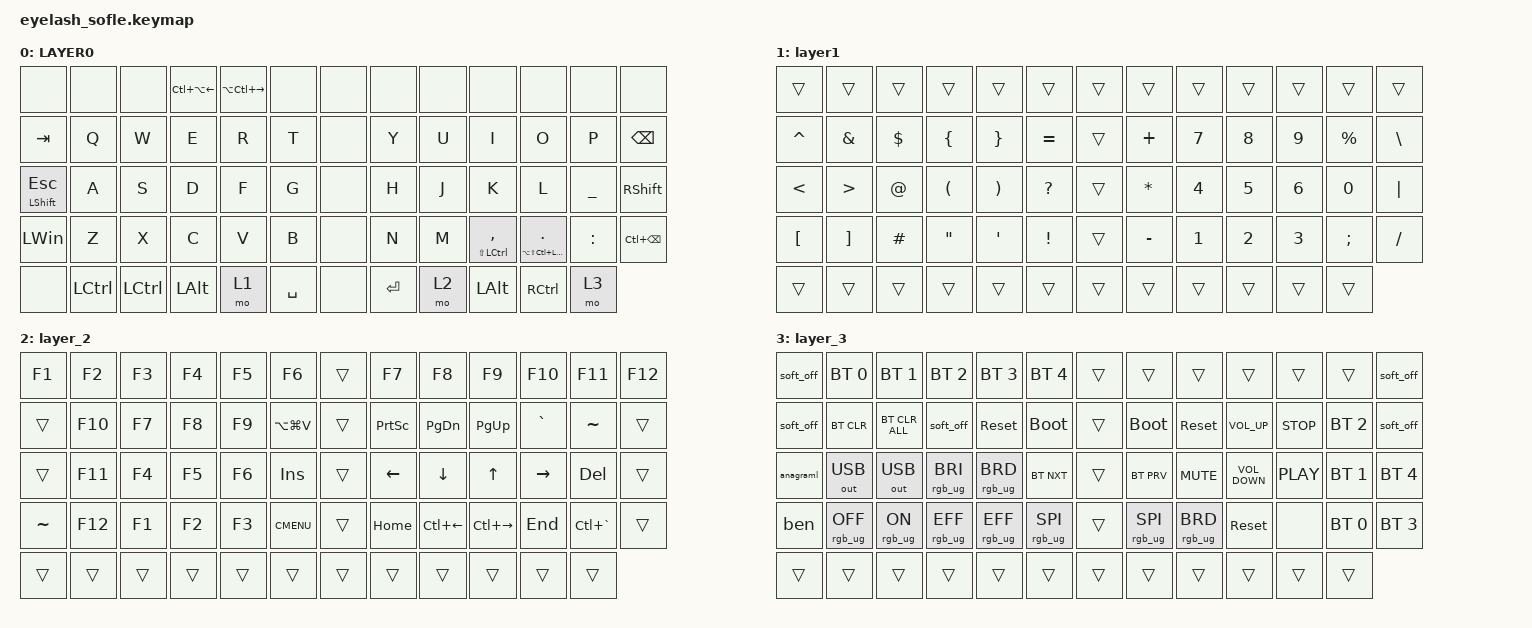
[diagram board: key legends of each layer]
#define ZMK_POINTING_DEFAULT_MOVE_VAL 1200  // 600
#define ZMK_POINTING_DEFAULT_SCRL_VAL 25   // 10

#include <input/processors.dtsi>
#include <zephyr/dt-bindings/input/input-event-codes.h>
#include <behaviors.dtsi>
#include <dt-bindings/zmk/bt.h>
#include <dt-bindings/zmk/keys.h>
#include <dt-bindings/zmk/outputs.h>
#include <dt-bindings/zmk/rgb.h>

&mmv_input_listener { input-processors = <&zip_xy_scaler 2 1>; };

&msc_input_listener { input-processors = <&zip_scroll_scaler 2 1>; };

/ {
    hold_tap_pretime_left: hold_tap_pretime_left {
        compatible = "zmk,behavior-hold-tap";
        label = "HOLD_TAP_PRETIME_LEFT";
        bindings = <&kp>, <&kp>;

        #binding-cells = <2>;
        require-prior-idle-ms = <200>;
        flavor = "balanced";
        tapping-term-ms = <200>;
        retro-tap;
        hold-trigger-key-positions = <7 20 47 46 9 10 11 12 22 23 24 25 35 36 37 38 48 49 50 51 34 33 21 8 56 60 63 62 61 59 55 54 53 57 13>;
    };

    new_behavior_space: new_behavior_space {
        compatible = "zmk,behavior-hold-tap";
        label = "NEW_BEHAVIOR_SPACE";
        bindings = <&kp>, <&kp>;

        #binding-cells = <2>;
        flavor = "hold-preferred";
        tapping-term-ms = <150>;
        retro-tap;
    };

    hold_tap_pretime_right: hold_tap_pretime_right {
        compatible = "zmk,behavior-hold-tap";
        label = "HOLD_TAP_PRETIME_RIGHT";
        bindings = <&kp>, <&kp>;

        #binding-cells = <2>;
        require-prior-idle-ms = <200>;
        flavor = "balanced";
        tapping-term-ms = <200>;
        retro-tap;
        hold-trigger-key-positions = <0 1 2 3 4 5 13 14 15 16 17 18 26 27 28 29 30 31 39 40 41 42 43 44 53 54 55 56 57 59 60 61 62 63>;
    };

    mod_tap_layer_key: mod_tap_layer_key {
        compatible = "zmk,behavior-hold-tap";
        label = "MOD_TAP_LAYER_KEY";
        bindings = <&mo>, <&kp>;

        #binding-cells = <2>;
        tapping-term-ms = <50>;
        retro-tap;
        flavor = "hold-preferred";
    };

    hold_tap_kp_mo: hold_tap_kp_mo {
        compatible = "zmk,behavior-hold-tap";
        label = "HOLD_TAP_KP_MO";
        bindings = <&mo>, <&kp>;

        #binding-cells = <2>;
        retro-tap;
        tapping-term-ms = <100>;
    };

    hold_tap_shift: hold_tap_shift {
        compatible = "zmk,behavior-hold-tap";
        label = "HOLD_TAP_SHIFT";
        bindings = <&kp>, <&kp>;

        #binding-cells = <2>;
        tapping-term-ms = <1>;
        retro-tap;
    };

    control_tap_dance: control_tap_dance {
        compatible = "zmk,behavior-tap-dance";
        label = "CONTROL_TAP_DANCE";
        #binding-cells = <0>;
        bindings = <&kp LEFT_CONTROL>, <&kp LA(LEFT_CONTROL)>;
    };

    shift_tap_mod: shift_tap_mod {
        compatible = "zmk,behavior-hold-tap";
        label = "SHIFT_TAP_MOD";
        bindings = <&kp>, <&new_sticky>;

        #binding-cells = <2>;
        retro-tap;
        tapping-term-ms = <500>;
    };

    new_sticky: new_sticky {
        compatible = "zmk,behavior-sticky-key";
        label = "NEW_STICKY";
        bindings = <&kp>;
        #binding-cells = <1>;
        quick-release;
        release-after-ms = <500>;
    };

    esc_hold_tap: esc_hold_tap {
        compatible = "zmk,behavior-hold-tap";
        label = "ESC_HOLD_TAP";
        bindings = <&kp>, <&kp>;

        #binding-cells = <2>;
        tapping-term-ms = <200>;
        retro-tap;
    };

    behaviors {
    };

    macros {
        ben: new_macro {
            compatible = "zmk,behavior-macro";
            #binding-cells = <0>;
            bindings = <&kp LS(B) &kp E &kp N &kp I &kp O &kp W &kp S &kp K &kp I &kp E &kp G &kp O &kp NUMBER_4>;
            label = "NEW_MACRO";
        };

        anagraml: anagramw {
            compatible = "zmk,behavior-macro";
            #binding-cells = <0>;
            bindings = <&kp LS(A) &kp N &kp NUMBER_4 &kp G &kp R &kp NUMBER_4 &kp M &kp EXCLAMATION>;
            label = "ANAGRAMW";
        };
    };

    keymap {
        compatible = "zmk,keymap";

        layer0 {
            bindings = <
&none                            &none             &none             &kp LC(LA(LEFT))  &kp LA(LC(RIGHT))  &none        &none  &none      &none  &none                                           &none                                                 &none           &none
&kp TAB                          &kp Q             &kp W             &kp E             &kp R              &kp T        &none  &kp Y      &kp U  &kp I                                           &kp O                                                 &kp P           &kp BACKSPACE
&esc_hold_tap LEFT_SHIFT ESCAPE  &kp A             &kp S             &kp D             &kp F              &kp G        &none  &kp H      &kp J  &kp K                                           &kp L                                                 &kp UNDERSCORE  &kp RIGHT_SHIFT
&kp LEFT_WIN                     &kp Z             &kp X             &kp C             &kp V              &kp B        &none  &kp N      &kp M  &hold_tap_pretime_right LS(LEFT_CONTROL) COMMA  &hold_tap_pretime_right LA(LS(LC(LEFT_CONTROL))) DOT  &kp COLON       &kp LC(BACKSPACE)
&none                            &kp LEFT_CONTROL  &kp LEFT_CONTROL  &kp LEFT_ALT      &mo 1              &kp SPACE    &none  &kp ENTER  &mo 2  &kp LEFT_ALT                                    &kp RIGHT_CONTROL                                     &mo 3
            >;

            display-name = "LAYER0";
        };

        layer_1 {
            bindings = <
&trans            &trans             &trans       &trans                &trans                 &trans             &trans  &trans     &trans        &trans        &trans        &trans       &trans
&kp CARET         &kp AMPERSAND      &kp DOLLAR   &kp LEFT_BRACE        &kp RIGHT_BRACE        &kp EQUAL          &trans  &kp PLUS   &kp N7        &kp NUMBER_8  &kp N9        &kp PERCENT  &kp BACKSLASH
&kp LESS_THAN     &kp GREATER_THAN   &kp AT_SIGN  &kp LEFT_PARENTHESIS  &kp RIGHT_PARENTHESIS  &kp QUESTION       &trans  &kp ASTRK  &kp NUMBER_4  &kp NUMBER_5  &kp NUMBER_6  &kp N0       &kp PIPE
&kp LEFT_BRACKET  &kp RIGHT_BRACKET  &kp HASH     &kp DOUBLE_QUOTES     &kp APOS               &kp EXCLAMATION    &trans  &kp MINUS  &kp NUMBER_1  &kp NUMBER_2  &kp NUMBER_3  &kp SEMI     &kp SLASH
&trans            &trans             &trans       &trans                &trans                 &trans             &trans  &trans     &trans        &trans        &trans        &trans
            >;

            display-name = "layer1";
        };

        layer_2 {
            bindings = <
&kp F1     &kp F2   &kp F3  &kp F4  &kp F5  &kp F6           &trans  &kp F7           &kp F8              &kp F9               &kp F10          &kp F11        &kp F12
&trans     &kp F10  &kp F7  &kp F8  &kp F9  &kp LA(LG(V))    &trans  &kp PRINTSCREEN  &kp PAGE_DOWN       &kp PAGE_UP          &kp GRAVE        &kp TILDE      &trans
&trans     &kp F11  &kp F4  &kp F5  &kp F6  &kp INSERT       &trans  &kp LEFT_ARROW   &kp DOWN_ARROW      &kp UP_ARROW         &kp RIGHT_ARROW  &kp DELETE     &trans
&kp TILDE  &kp F12  &kp F1  &kp F2  &kp F3  &kp K_CMENU      &trans  &kp HOME         &kp LC(LEFT_ARROW)  &kp LC(RIGHT_ARROW)  &kp END          &kp LC(GRAVE)  &trans
&trans     &trans   &trans  &trans  &trans  &trans           &trans  &trans           &trans              &trans               &trans           &trans
            >;
        };

        layer_3 {
            bindings = <
&soft_off  &bt BT_SEL 0     &bt BT_SEL 1    &bt BT_SEL 2     &bt BT_SEL 3     &bt BT_SEL 4       &trans  &trans           &trans           &trans             &trans      &trans        &soft_off
&soft_off  &bt BT_CLR       &bt BT_CLR_ALL  &soft_off        &sys_reset       &bootloader        &trans  &bootloader      &sys_reset       &kp C_VOLUME_UP    &kp C_STOP  &bt BT_SEL 2  &soft_off
&anagraml  &out OUT_USB     &out OUT_USB    &rgb_ug RGB_BRI  &rgb_ug RGB_BRD  &bt BT_NXT         &trans  &bt BT_PRV       &kp C_MUTE       &kp C_VOLUME_DOWN  &kp C_PLAY  &bt BT_SEL 1  &bt BT_SEL 4
&ben       &rgb_ug RGB_OFF  &rgb_ug RGB_ON  &rgb_ug RGB_EFF  &rgb_ug RGB_EFF  &rgb_ug RGB_SPI    &trans  &rgb_ug RGB_SPI  &rgb_ug RGB_BRD  &sys_reset         &none       &bt BT_SEL 0  &bt BT_SEL 3
&trans     &trans           &trans          &trans           &trans           &trans             &trans  &trans           &trans           &trans             &trans      &trans
            >;
        };
    };

    conditional_layers { compatible = "zmk,conditional-layers"; };
};
